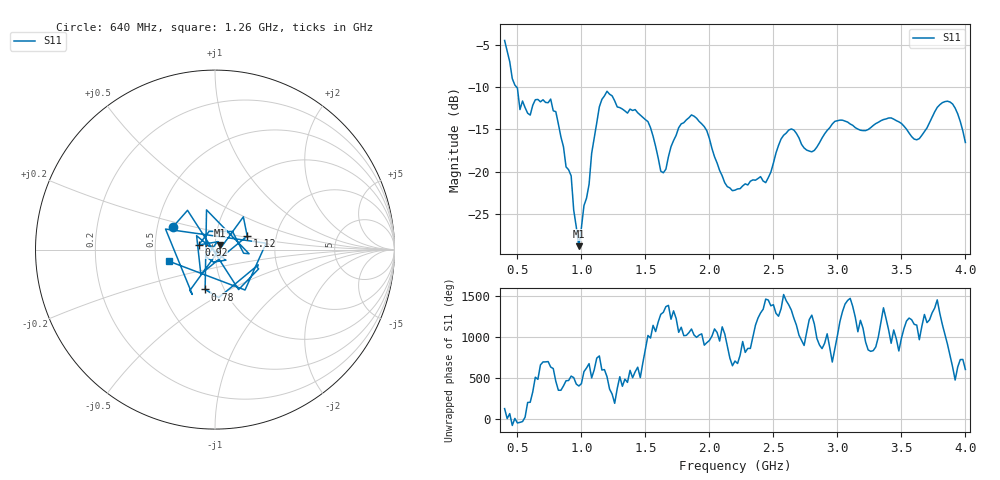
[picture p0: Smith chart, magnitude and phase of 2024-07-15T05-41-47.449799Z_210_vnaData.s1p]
!Created with skrf (http://scikit-rf.org).
# Hz S RI R 50.0
!freq ReS11 ImS11
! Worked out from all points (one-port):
!   181 points, 400 MHz to 4 GHz, reference 50 ohm
!   lowest |S11| = -28.8 dB at 980 MHz (marker M1), VSWR 1.08, Z = 52.6 + j2.71 ohm
!   |S11| at or under -10 dB: 493 MHz to end of sweep
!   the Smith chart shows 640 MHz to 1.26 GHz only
!   S11 on the Smith chart (normalised r, x): 640 MHz: 0.60, +0.17; 780 MHz: 0.82, -0.38; 920 MHz: 0.83, +0.04; 1.12 GHz: 1.42, +0.22; 1.26 GHz: 0.59, -0.08
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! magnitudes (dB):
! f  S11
! 400 MHz  -4.5
! 520 MHz  -12.7
! 640 MHz  -11.5
! 780 MHz  -12.8
! 860 MHz  -17.1
! 920 MHz  -20.5
! 980 MHz  -28.8
! 1.12 GHz  -14.2
! 1.2 GHz  -10.5
! 1.26 GHz  -11.6
! 1.3 GHz  -12.4
! 1.52 GHz  -14.1
! 1.64 GHz  -20.1
! 1.76 GHz  -14.8
! 1.96 GHz  -14.7
! 2.12 GHz  -21.3
! 2.2 GHz  -22.2
! 2.44 GHz  -21.3
! 2.56 GHz  -16.1
! 2.66 GHz  -15.1
! 2.8 GHz  -17.6
! 2.98 GHz  -14.1
! 3.1 GHz  -14.4
! 3.42 GHz  -13.6
! 3.56 GHz  -15.4
! 3.64 GHz  -16.1
! 3.86 GHz  -11.7
! 4 GHz  -16.5
